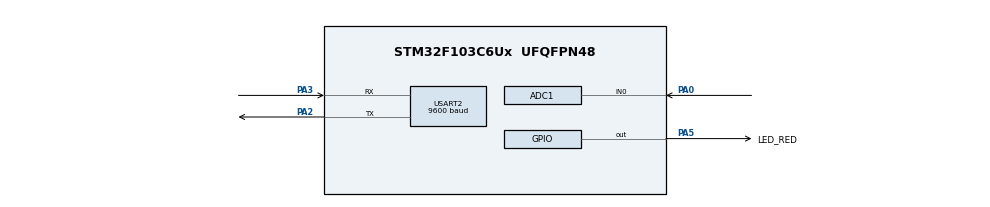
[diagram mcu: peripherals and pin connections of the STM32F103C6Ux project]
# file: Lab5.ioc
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ADC1.Channel-2\#ChannelRegularConversion=ADC_CHANNEL_0
ADC1.ContinuousConvMode=ENABLE
ADC1.NbrOfConversionFlag=1
ADC1.Rank-2\#ChannelRegularConversion=1
ADC1.SamplingTime-2\#ChannelRegularConversion=ADC_SAMPLETIME_1CYCLE_5
ADC1.master=1
Mcu.Family=STM32F1
Mcu.Name=STM32F103C6Ux
Mcu.Package=UFQFPN48
NVIC.ADC1_2_IRQn=true\:0\:0\:false\:false\:true\:true\:true
NVIC.PriorityGroup=NVIC_PRIORITYGROUP_4
NVIC.TIM2_IRQn=true\:0\:0\:false\:false\:true\:true\:true
NVIC.USART2_IRQn=true\:0\:0\:false\:false\:true\:true\:true
PA0-WKUP.Signal=ADCx_IN0
PA2.Mode=Asynchronous
PA2.Signal=USART2_TX
PA3.Mode=Asynchronous
PA3.Signal=USART2_RX
PA5.GPIO_Label=LED_RED
PA5.Signal=GPIO_Output
ProjectManager.HeapSize=0x200
ProjectManager.StackSize=0x400
ProjectManager.TargetToolchain=STM32CubeIDE
RCC.APB1Freq_Value=8000000
RCC.APB2Freq_Value=8000000
SH.ADCx_IN0.0=ADC1_IN0,IN0
TIM2.Period=9
TIM2.Prescaler=7999
USART2.BaudRate=9600
USART2.VirtualMode=VM_ASYNC
VP_SYS_VS_ND.Mode=No_Debug
VP_TIM2_VS_ClockSourceINT.Mode=Internal
board=custom

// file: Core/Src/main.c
/* USER CODE BEGIN Header */
/**
 ******************************************************************************
 * @file           : main.c
 * @brief          : Main program body
 ******************************************************************************
 * @attention
 *
 * <h2><center>&copy; Copyright (c) 2024 STMicroelectronics.
 * All rights reserved.</center></h2>
 *
 * This software component is licensed by ST under BSD 3-Clause license,
 * the "License"; You may not use this file except in compliance with the
 * License. You may obtain a copy of the License at:
 *                        opensource.org/licenses/BSD-3-Clause
 *
 ******************************************************************************
 */
/* USER CODE END Header */
#include "main.h"

/* USER CODE BEGIN Includes */
#include "Command_Parser_FSM.h"
#include "UART_Communication_FSM.h"
#include "timerlab5.h"
#include "global.h"
#include "string.h"
#include "stdio.h"
/* USER CODE END Includes */

ADC_HandleTypeDef hadc1;

TIM_HandleTypeDef htim2;

UART_HandleTypeDef huart2;

void SystemClock_Config(void);
static void MX_GPIO_Init(void);
static void MX_ADC1_Init(void);
static void MX_USART2_UART_Init(void);
static void MX_TIM2_Init(void);

/* USER CODE BEGIN 0 */
void HAL_UART_RxCpltCallback(UART_HandleTypeDef * huart) {
	if(huart->Instance == USART2){
		buffer[index_buffer++] = temp;
		if(index_buffer == MAX_BUFFER_SIZE) index_buffer = 0;
		buffer_flag = 1;
		HAL_UART_Transmit(&huart2, &temp, 1, 50);
		HAL_UART_Receive_IT(&huart2, &temp, 1);
	}
}
/* USER CODE END 0 */

int main(void) {

	/* MCU Configuration--------------------------------------------------------*/

	/* Reset of all peripherals, Initializes the Flash interface and the Systick. */
	HAL_Init();

	/* Configure the system clock */
	SystemClock_Config();

	/* Initialize all configured peripherals */
	MX_GPIO_Init();
	MX_ADC1_Init();
	MX_USART2_UART_Init();
	MX_TIM2_Init();
	/* USER CODE BEGIN 2 */
	HAL_UART_Receive_IT(&huart2, &temp, 1);
	HAL_TIM_Base_Start_IT(&htim2);
	/* USER CODE END 2 */

	/* Infinite loop */
	/* USER CODE BEGIN WHILE */
	setTimer(1, 1000);
	while (1) {
		if(timer_flag[1] == 1){
			HAL_GPIO_TogglePin(LED_RED_GPIO_Port, LED_RED_Pin);
			setTimer(1, 1000);
		}
		if (buffer_flag == 1) {
			command_parser_fsm();
			buffer_flag = 0;
		}
		uart_communiation_fsm(hadc1, huart2);
		/* USER CODE END WHILE */

	}
}

void SystemClock_Config(void) {
	RCC_OscInitTypeDef RCC_OscInitStruct = { 0 };
	RCC_ClkInitTypeDef RCC_ClkInitStruct = { 0 };
	RCC_PeriphCLKInitTypeDef PeriphClkInit = { 0 };

	/** Initializes the RCC Oscillators according to the specified parameters
	 * in the RCC_OscInitTypeDef structure.
	 */
	RCC_OscInitStruct.OscillatorType = RCC_OSCILLATORTYPE_HSI;
	RCC_OscInitStruct.HSIState = RCC_HSI_ON;
	RCC_OscInitStruct.HSICalibrationValue = RCC_HSICALIBRATION_DEFAULT;
	RCC_OscInitStruct.PLL.PLLState = RCC_PLL_NONE;
	if (HAL_RCC_OscConfig(&RCC_OscInitStruct) != HAL_OK) {
		Error_Handler();
	}
	/** Initializes the CPU, AHB and APB buses clocks
	 */
	RCC_ClkInitStruct.ClockType = RCC_CLOCKTYPE_HCLK | RCC_CLOCKTYPE_SYSCLK
			| RCC_CLOCKTYPE_PCLK1 | RCC_CLOCKTYPE_PCLK2;
	RCC_ClkInitStruct.SYSCLKSource = RCC_SYSCLKSOURCE_HSI;
	RCC_ClkInitStruct.AHBCLKDivider = RCC_SYSCLK_DIV1;
	RCC_ClkInitStruct.APB1CLKDivider = RCC_HCLK_DIV1;
	RCC_ClkInitStruct.APB2CLKDivider = RCC_HCLK_DIV1;

	if (HAL_RCC_ClockConfig(&RCC_ClkInitStruct, FLASH_LATENCY_0) != HAL_OK) {
		Error_Handler();
	}
	PeriphClkInit.PeriphClockSelection = RCC_PERIPHCLK_ADC;
	PeriphClkInit.AdcClockSelection = RCC_ADCPCLK2_DIV2;
	if (HAL_RCCEx_PeriphCLKConfig(&PeriphClkInit) != HAL_OK) {
		Error_Handler();
	}
}

static void MX_ADC1_Init(void) {

	ADC_ChannelConfTypeDef sConfig = { 0 };

	/** Common config
	 */
	hadc1.Instance = ADC1;
	hadc1.Init.ScanConvMode = ADC_SCAN_DISABLE;
	hadc1.Init.ContinuousConvMode = ENABLE;
	hadc1.Init.DiscontinuousConvMode = DISABLE;
	hadc1.Init.ExternalTrigConv = ADC_SOFTWARE_START;
	hadc1.Init.DataAlign = ADC_DATAALIGN_RIGHT;
	hadc1.Init.NbrOfConversion = 1;
	if (HAL_ADC_Init(&hadc1) != HAL_OK) {
		Error_Handler();
	}
	/** Configure Regular Channel
	 */
	sConfig.Channel = ADC_CHANNEL_0;
	sConfig.Rank = ADC_REGULAR_RANK_1;
	sConfig.SamplingTime = ADC_SAMPLETIME_1CYCLE_5;
	if (HAL_ADC_ConfigChannel(&hadc1, &sConfig) != HAL_OK) {
		Error_Handler();
	}

}

static void MX_TIM2_Init(void) {

	TIM_ClockConfigTypeDef sClockSourceConfig = { 0 };
	TIM_MasterConfigTypeDef sMasterConfig = { 0 };

	htim2.Instance = TIM2;
	htim2.Init.Prescaler = 7999;
	htim2.Init.CounterMode = TIM_COUNTERMODE_UP;
	htim2.Init.Period = 9;
	htim2.Init.ClockDivision = TIM_CLOCKDIVISION_DIV1;
	htim2.Init.AutoReloadPreload = TIM_AUTORELOAD_PRELOAD_DISABLE;
	if (HAL_TIM_Base_Init(&htim2) != HAL_OK) {
		Error_Handler();
	}
	sClockSourceConfig.ClockSource = TIM_CLOCKSOURCE_INTERNAL;
	if (HAL_TIM_ConfigClockSource(&htim2, &sClockSourceConfig) != HAL_OK) {
		Error_Handler();
	}
	sMasterConfig.MasterOutputTrigger = TIM_TRGO_RESET;
	sMasterConfig.MasterSlaveMode = TIM_MASTERSLAVEMODE_DISABLE;
	if (HAL_TIMEx_MasterConfigSynchronization(&htim2, &sMasterConfig)
			!= HAL_OK) {
		Error_Handler();
	}

}

static void MX_USART2_UART_Init(void) {

	huart2.Instance = USART2;
	huart2.Init.BaudRate = 9600;
	huart2.Init.WordLength = UART_WORDLENGTH_8B;
	huart2.Init.StopBits = UART_STOPBITS_1;
	huart2.Init.Parity = UART_PARITY_NONE;
	huart2.Init.Mode = UART_MODE_TX_RX;
	huart2.Init.HwFlowCtl = UART_HWCONTROL_NONE;
	huart2.Init.OverSampling = UART_OVERSAMPLING_16;
	if (HAL_UART_Init(&huart2) != HAL_OK) {
		Error_Handler();
	}

}

static void MX_GPIO_Init(void) {
	GPIO_InitTypeDef GPIO_InitStruct = { 0 };

	/* GPIO Ports Clock Enable */
	__HAL_RCC_GPIOA_CLK_ENABLE();

	/*Configure GPIO pin Output Level */
	HAL_GPIO_WritePin(LED_RED_GPIO_Port, LED_RED_Pin, GPIO_PIN_RESET);

	/*Configure GPIO pin : LED_YELLOW_Pin */
	GPIO_InitStruct.Pin = LED_RED_Pin;
	GPIO_InitStruct.Mode = GPIO_MODE_OUTPUT_PP;
	GPIO_InitStruct.Pull = GPIO_NOPULL;
	GPIO_InitStruct.Speed = GPIO_SPEED_FREQ_LOW;
	HAL_GPIO_Init(LED_RED_GPIO_Port, &GPIO_InitStruct);

}

/* USER CODE BEGIN 4 */
void HAL_TIM_PeriodElapsedCallback(TIM_HandleTypeDef *htim) {
	timerRun();
}
/* USER CODE END 4 */

void Error_Handler(void) {
	__disable_irq();
	while (1) {
	}
}

/************************ (C) COPYRIGHT STMicroelectronics *****END OF FILE****/
